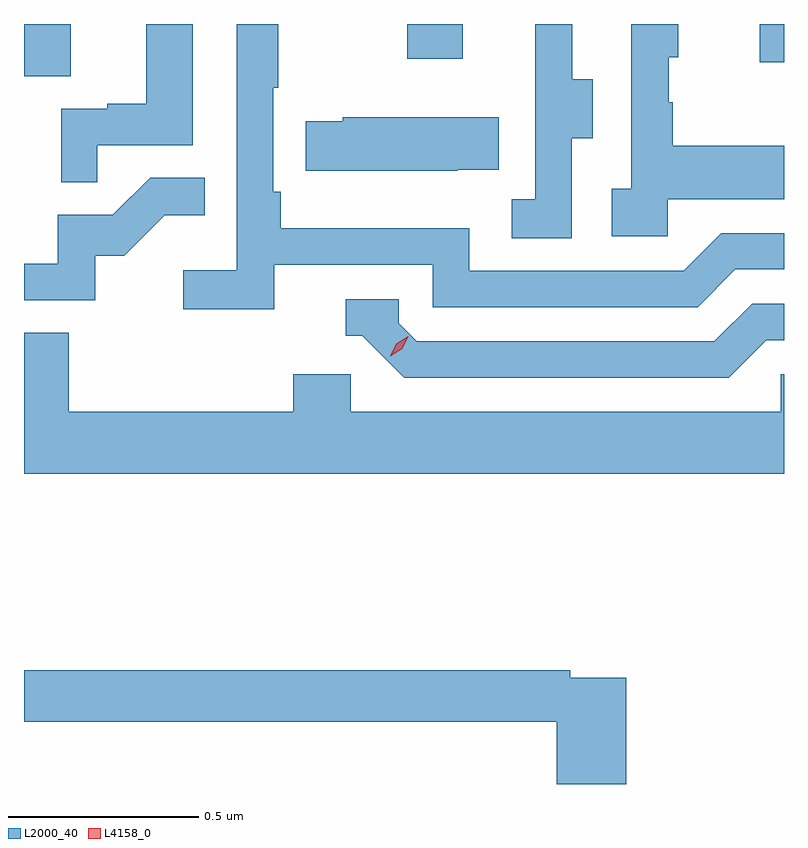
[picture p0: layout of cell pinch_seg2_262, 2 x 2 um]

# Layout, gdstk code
import gdstk
lib = gdstk.Library(unit=1e-6, precision=1e-09)
def R(c, l, rs):  # rectangles x0, y0, x1, y1
    for r in rs: c.add(gdstk.rectangle(r[:2], r[2:], *l))
def P(c, l, *ps):  # polygons
    for p in ps: c.add(gdstk.Polygon(p, *l))
L2000_40 = (2000, 40)
L4158_0 = (4158, 0)

pinch_seg2_262 = lib.new_cell('pinch_seg2_262')
R(pinch_seg2_262, L2000_40, [(940.264,662.002,940.387,662.14), (942.2,662.04,942.264,662.14), (941.272,662.049,941.419,662.14)])
P(pinch_seg2_262, L2000_40, [(941.706,661.84),(941.761,661.84),(941.761,661.995),(941.707,661.995),(941.707,662.14),(941.609,662.14),(941.609,661.983),(941.61,661.983),(941.61,661.679),(941.547,661.679),(941.547,661.576),(941.706,661.576)],
  [(940.922,661.506),(941.34,661.506),(941.34,661.395),(942.037,661.395),(942.136,661.494),(942.264,661.494),(942.264,661.59),(942.099,661.59),(942,661.491),(941.436,661.491),(941.436,661.603),(940.94,661.603),(940.94,661.699),(940.92,661.699),(940.92,661.972),(940.933,661.972),(940.933,662.14),(940.824,662.14),(940.824,661.492),(940.683,661.492),(940.683,661.39),(940.922,661.39)],
  [(941.958,661.679),(942.264,661.679),(942.264,661.819),(941.971,661.819),(941.971,661.934),(941.961,661.934),(941.961,662.052),(941.986,662.052),(941.986,662.14),(941.862,662.14),(941.862,661.706),(941.811,661.706),(941.811,661.581),(941.958,661.581)],
  [(940.457,661.821),(940.708,661.821),(940.708,662.14),(940.586,662.14),(940.586,661.93),(940.483,661.93),(940.483,661.917),(940.362,661.917),(940.362,661.723),(940.457,661.723)],
  [(941.405,661.757),(941.513,661.757),(941.513,661.894),(941.103,661.894),(941.103,661.884),(941.005,661.884),(941.005,661.754),(941.405,661.754)],
  [(940.452,661.53),(940.528,661.53),(940.635,661.637),(940.739,661.637),(940.739,661.736),(940.596,661.736),(940.498,661.638),(940.353,661.638),(940.353,661.509),(940.264,661.509),(940.264,661.413),(940.452,661.413)],
  [(942.217,661.308),(942.264,661.308),(942.264,661.404),(942.18,661.404),(942.081,661.305),(941.298,661.305),(941.25,661.353),(941.25,661.416),(941.111,661.416),(941.111,661.32),(941.154,661.32),(941.265,661.209),(942.118,661.209)],
  [(942.264,661.218),(942.255,661.218),(942.255,661.12),(941.124,661.12),(941.124,661.218),(940.973,661.218),(940.973,661.12),(940.382,661.12),(940.382,661.328),(940.264,661.328),(940.264,660.956),(942.264,660.956)],
  [(941.849,660.42),(941.702,660.42),(941.702,660.44),(940.264,660.44),(940.264,660.304),(941.666,660.304),(941.666,660.14),(941.849,660.14)])
P(pinch_seg2_262, L4158_0, [(941.228,661.266),(941.228,661.266),(941.244,661.299),(941.275,661.318),(941.275,661.318),(941.275,661.318),(941.259,661.285),(941.228,661.266)])

lib.write_gds('pinch_seg2_262.gds')
